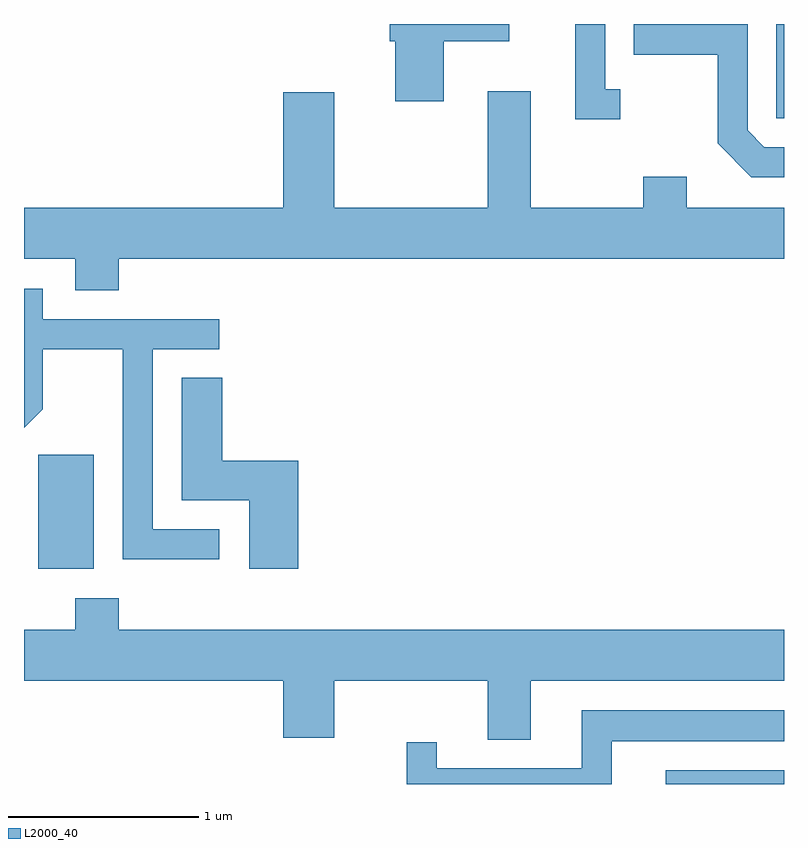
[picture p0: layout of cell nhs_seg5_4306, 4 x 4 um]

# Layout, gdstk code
import gdstk
lib = gdstk.Library(unit=1e-6, precision=1e-09)
def R(c, l, rs):  # rectangles x0, y0, x1, y1
    for r in rs: c.add(gdstk.rectangle(r[:2], r[2:], *l))
def P(c, l, *ps):  # polygons
    for p in ps: c.add(gdstk.Polygon(p, *l))
L2000_40 = (2000, 40)

nhs_seg5_4306 = lib.new_cell('nhs_seg5_4306')
R(nhs_seg5_4306, L2000_40, [(316.988,1414.072,317.611,1414.144), (313.686,1415.206,313.979,1415.804), (317.571,1417.576,317.611,1418.072)])
P(nhs_seg5_4306, L2000_40, [(316.748,1417.729),(316.669,1417.729),(316.669,1418.072),(316.511,1418.072),(316.511,1417.571),(316.748,1417.571)],
  [(317.611,1417.424),(317.507,1417.424),(317.419,1417.512),(317.419,1418.072),(316.821,1418.072),(316.821,1417.911),(317.261,1417.911),(317.261,1417.444),(317.439,1417.266),(317.611,1417.266)],
  [(315.819,1417.981),(316.164,1417.981),(316.164,1418.072),(315.536,1418.072),(315.536,1417.981),(315.566,1417.981),(315.566,1417.666),(315.819,1417.666)],
  [(314.109,1416.836),(317.611,1416.836),(317.611,1417.104),(317.099,1417.104),(317.099,1417.269),(316.871,1417.269),(316.871,1417.104),(316.279,1417.104),(316.279,1417.719),(316.051,1417.719),(316.051,1417.104),(315.244,1417.104),(315.244,1417.714),(314.976,1417.714),(314.976,1417.104),(313.611,1417.104),(313.611,1416.836),(313.881,1416.836),(313.881,1416.671),(314.109,1416.671)],
  [(314.638,1415.414),(314.289,1415.414),(314.289,1416.361),(314.638,1416.361),(314.638,1416.519),(313.709,1416.519),(313.709,1416.679),(313.611,1416.679),(313.611,1415.946),(313.709,1416.044),(313.709,1416.361),(314.131,1416.361),(314.131,1415.256),(314.638,1415.256)],
  [(315.054,1415.774),(314.654,1415.774),(314.654,1416.209),(314.441,1416.209),(314.441,1415.566),(314.796,1415.566),(314.796,1415.206),(315.054,1415.206)],
  [(316.279,1414.616),(317.611,1414.616),(317.611,1414.884),(314.109,1414.884),(314.109,1415.049),(313.881,1415.049),(313.881,1414.884),(313.611,1414.884),(313.611,1414.616),(314.976,1414.616),(314.976,1414.316),(315.244,1414.316),(315.244,1414.616),(316.051,1414.616),(316.051,1414.306),(316.279,1414.306)],
  [(316.704,1414.296),(317.611,1414.296),(317.611,1414.459),(316.546,1414.459),(316.546,1414.154),(315.784,1414.154),(315.784,1414.293),(315.626,1414.293),(315.626,1414.072),(316.704,1414.072)])

lib.write_gds('nhs_seg5_4306.gds')
